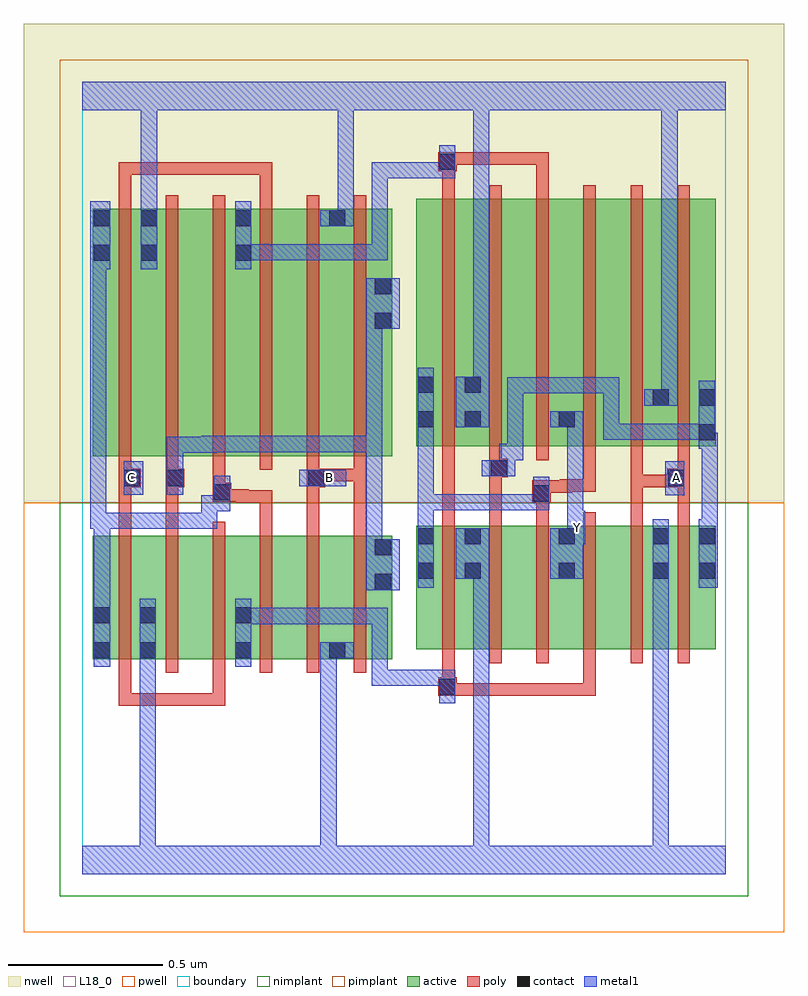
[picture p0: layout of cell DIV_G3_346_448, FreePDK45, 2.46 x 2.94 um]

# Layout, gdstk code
import gdstk
lib = gdstk.Library(unit=1e-6, precision=1e-09)
def R(c, l, rs):  # rectangles x0, y0, x1, y1
    for r in rs: c.add(gdstk.rectangle(r[:2], r[2:], *l))
def A(c, l, x, y, w, h, nx, ny, dx, dy):  # array of equal rectangles
    R(c, l, [(x+i*dx, y+j*dy, x+i*dx+w, y+j*dy+h) for i in range(nx) for j in range(ny)])
active = (1, 0)
pwell = (2, 0)
nwell = (3, 0)
nimplant = (4, 0)
pimplant = (5, 0)
poly = (9, 0)
contact = (10, 0)
metal1 = (11, 0)
L18_0 = (18, 0)
boundary = (235, 0)

div_g3_346_448 = lib.new_cell('DIV_G3_346_448')
A(div_g3_346_448, active, 0.186, 1.35, 0.06, 0.8, 3, 1, 0.304, 0)
A(div_g3_346_448, active, 1.232, 1.382, 0.06, 0.662, 3, 1, 0.304, 0)
R(div_g3_346_448, active, [(0.034,0.694,0.094,1.094), (0.034,0.694,0.242,1.094), (0.182,0.694,0.366,1.094), (0.182,0.694,0.242,0.888), (0.366,0.694,0.55,1.094), (0.49,0.694,0.55,1.094), (0.49,0.694,0.67,1.094), (0.67,0.694,0.854,1.094), (0.794,0.694,1.002,1.094), (0.794,0.694,0.854,0.782), (0.942,0.714,1.002,1.094), (1.08,0.726,1.14,1.126), (1.08,0.726,1.292,1.126), (1.232,0.726,1.412,1.126), (1.412,0.726,1.596,1.126), (1.536,0.726,1.596,1.126), (1.536,0.726,1.716,1.126), (1.716,0.726,1.9,1.126), (1.84,0.726,1.9,1.126), (1.84,0.726,2.048,1.126), (1.988,0.726,2.048,1.126), (1.232,0.756,1.292,1.122), (0.034,1.35,0.246,2.15), (0.034,1.35,0.094,2.15), (0.186,1.35,0.366,2.15), (0.366,1.35,0.55,2.15), (0.49,1.35,0.67,2.15), (0.67,1.35,0.854,2.15), (0.794,1.35,1.002,2.15), (0.942,1.35,1.002,2.044), (1.08,1.382,1.292,2.182), (1.08,1.382,1.14,2.182), (1.232,1.382,1.412,2.182), (1.412,1.382,1.596,2.182), (1.536,1.382,1.716,2.182), (1.716,1.382,1.9,2.182), (1.84,1.382,2.048,2.182), (1.988,1.382,2.048,2.044)])
R(div_g3_346_448, pwell, [(-0.188,-0.188,2.268,1.2)])
R(div_g3_346_448, nwell, [(-0.188,1.2,2.268,2.748)])
R(div_g3_346_448, nimplant, [(-0.072,-0.072,2.152,1.2)])
R(div_g3_346_448, pimplant, [(-0.072,1.2,2.152,2.632)])
A(div_g3_346_448, poly, 0.118, 0.65, 0.04, 0.488, 6, 1, 0.152, 0)
A(div_g3_346_448, poly, 1.164, 0.682, 0.04, 0.488, 6, 1, 0.152, 0)
A(div_g3_346_448, poly, 0.118, 1.306, 0.04, 0.888, 6, 1, 0.152, 0)
A(div_g3_346_448, poly, 1.164, 1.338, 0.04, 0.888, 6, 1, 0.152, 0)
R(div_g3_346_448, poly, [(0.118,0.544,0.158,0.584), (0.118,0.544,0.158,0.584), (0.118,0.544,0.158,0.584), (0.118,0.544,0.158,0.69), (0.118,0.544,0.296,0.584), (0.256,0.544,0.296,0.584), (0.256,0.544,0.296,0.584), (0.256,0.544,0.296,0.584), (0.256,0.544,0.462,0.584), (0.422,0.544,0.462,0.584), (0.422,0.544,0.462,0.69), (1.15,0.576,1.21,0.636), (1.17,0.576,1.21,0.616), (1.17,0.576,1.21,0.616), (1.17,0.576,1.376,0.616), (1.336,0.576,1.376,0.616), (1.336,0.576,1.376,0.616), (1.336,0.576,1.376,0.616), (1.336,0.576,1.482,0.616), (1.442,0.576,1.482,0.616), (1.442,0.576,1.482,0.616), (1.442,0.576,1.482,0.616), (1.442,0.576,1.66,0.616), (1.62,0.576,1.66,0.616), (1.62,0.576,1.66,0.722), (1.164,0.596,1.204,0.722), (0.118,1.098,0.158,1.29), (0.27,1.098,0.31,1.29), (0.574,1.098,0.614,1.24), (0.726,1.098,0.766,1.29), (0.878,1.098,0.918,1.31), (1.164,1.13,1.204,1.342), (1.316,1.13,1.356,1.322), (1.468,1.13,1.508,1.24), (1.772,1.13,1.812,1.29), (1.924,1.13,1.964,1.29), (0.498,1.2,0.614,1.24), (0.498,1.2,0.538,1.244), (0.574,1.2,0.614,1.24), (1.454,1.2,1.514,1.272), (0.422,1.204,0.482,1.264), (0.442,1.204,0.538,1.244), (0.422,1.224,0.462,1.264), (0.422,1.224,0.462,1.264), (0.422,1.224,0.462,1.346), (1.474,1.232,1.584,1.272), (1.544,1.232,1.584,1.276), (1.544,1.236,1.66,1.276), (1.62,1.236,1.66,1.276), (1.62,1.236,1.66,1.276), (1.62,1.236,1.66,1.276), (1.62,1.236,1.66,1.378), (0.118,1.25,0.158,1.29), (0.118,1.25,0.158,1.29), (0.118,1.25,0.19,1.31), (0.27,1.25,0.31,1.29), (0.27,1.25,0.31,1.29), (0.27,1.25,0.33,1.31), (0.726,1.25,0.786,1.31), (1.772,1.25,1.812,1.29), (1.772,1.25,1.812,1.29), (1.772,1.25,1.812,1.29), (1.772,1.25,1.93,1.29), (1.772,1.25,1.812,1.378), (1.89,1.25,1.93,1.29), (1.89,1.25,1.93,1.29), (1.89,1.25,1.964,1.31), (0.118,1.27,0.158,1.346), (0.27,1.27,0.31,1.346), (0.726,1.27,0.766,1.31), (0.726,1.27,0.766,1.31), (0.726,1.27,0.766,1.346), (0.726,1.27,0.918,1.31), (0.878,1.27,0.918,1.31), (0.878,1.27,0.918,1.31), (0.878,1.27,0.918,1.31), (0.878,1.27,0.918,1.31), (0.878,1.27,0.918,1.31), (0.878,1.27,0.918,1.346), (1.924,1.27,1.964,1.378), (1.924,1.27,1.964,1.31), (1.924,1.27,1.964,1.31), (1.316,1.282,1.356,1.322), (1.316,1.282,1.356,1.322), (1.316,1.282,1.376,1.342), (1.164,1.302,1.204,1.342), (1.164,1.302,1.204,1.342), (1.164,1.302,1.204,1.342), (1.164,1.302,1.204,1.378), (1.316,1.302,1.356,1.378), (0.118,2.154,0.158,2.3), (0.574,2.154,0.614,2.3), (1.164,2.186,1.204,2.312), (1.468,2.186,1.508,2.332), (0.118,2.26,0.158,2.3), (0.118,2.26,0.158,2.3), (0.118,2.26,0.158,2.3), (0.118,2.26,0.356,2.3), (0.316,2.26,0.356,2.3), (0.316,2.26,0.356,2.3), (0.316,2.26,0.356,2.3), (0.316,2.26,0.508,2.3), (0.468,2.26,0.508,2.3), (0.468,2.26,0.614,2.3), (0.574,2.26,0.614,2.3), (0.574,2.26,0.614,2.3), (0.574,2.26,0.614,2.3), (1.15,2.272,1.21,2.332), (1.17,2.292,1.21,2.332), (1.17,2.292,1.21,2.332), (1.17,2.292,1.376,2.332), (1.336,2.292,1.376,2.332), (1.336,2.292,1.376,2.332), (1.336,2.292,1.376,2.332), (1.336,2.292,1.508,2.332), (1.468,2.292,1.508,2.332)])
A(div_g3_346_448, contact, 1.236, 0.954, 0.052, 0.052, 3, 2, 0.304, 0.112)
A(div_g3_346_448, contact, 0.19, 2.094, 0.052, 0.052, 3, 1, 0.304, 0)
R(div_g3_346_448, contact, [(1.154,0.58,1.206,0.632), (0.038,0.698,0.09,0.75), (0.186,0.698,0.238,0.75), (0.494,0.698,0.546,0.75), (0.798,0.698,0.85,0.75), (0.038,0.81,0.09,0.862), (0.186,0.81,0.238,0.862), (0.494,0.81,0.546,0.862), (0.946,0.918,0.998,0.97), (1.084,0.954,1.136,1.006), (1.992,0.954,2.044,1.006), (0.946,1.03,0.998,1.082), (1.084,1.066,1.136,1.118), (1.992,1.066,2.044,1.118), (1.458,1.204,1.51,1.256), (0.426,1.208,0.478,1.26), (0.134,1.254,0.186,1.306), (0.274,1.254,0.326,1.306), (0.73,1.254,0.782,1.306), (1.894,1.254,1.946,1.306), (1.32,1.286,1.372,1.338), (1.992,1.402,2.044,1.454), (1.084,1.444,1.136,1.496), (1.236,1.444,1.288,1.496), (1.54,1.444,1.592,1.496), (1.844,1.514,1.896,1.566), (1.992,1.514,2.044,1.566), (1.084,1.556,1.136,1.608), (1.236,1.556,1.288,1.608), (0.946,1.762,0.998,1.814), (0.946,1.874,0.998,1.926), (0.038,1.982,0.09,2.034), (0.19,1.982,0.242,2.034), (0.494,1.982,0.546,2.034), (0.038,2.094,0.09,2.146), (1.154,2.276,1.206,2.328)])
R(div_g3_346_448, metal1, [(0,0,2.08,0.092), (0.186,0.04,0.238,0.092), (0.186,0.04,0.238,0.092), (0.186,0.04,0.238,0.092), (0.186,0.04,0.238,0.092), (0.186,0.04,0.238,0.092), (0.186,0.04,0.238,0.092), (0.186,0.04,0.238,0.092), (0.186,0.04,0.238,0.092), (0.186,0.04,0.238,0.722), (0.77,0.04,0.822,0.092), (0.77,0.04,0.822,0.092), (0.77,0.04,0.822,0.092), (0.77,0.04,0.822,0.092), (0.77,0.04,0.822,0.092), (0.77,0.04,0.822,0.092), (0.77,0.04,0.822,0.092), (0.77,0.04,0.822,0.092), (0.77,0.04,0.822,0.092), (0.77,0.04,0.822,0.092), (0.77,0.04,0.822,0.75), (1.264,0.04,1.316,0.092), (1.264,0.04,1.316,0.092), (1.264,0.04,1.316,0.092), (1.264,0.04,1.316,0.092), (1.264,0.04,1.316,0.092), (1.264,0.04,1.316,0.092), (1.264,0.04,1.316,0.092), (1.264,0.04,1.316,0.092), (1.264,0.04,1.316,0.092), (1.264,0.04,1.316,0.092), (1.264,0.04,1.316,0.092), (1.264,0.04,1.316,0.092), (1.264,0.04,1.316,1.006), (1.844,0.04,1.896,0.092), (1.844,0.04,1.896,0.092), (1.844,0.04,1.896,0.092), (1.844,0.04,1.896,0.092), (1.844,0.04,1.896,0.092), (1.844,0.04,1.896,0.092), (1.844,0.04,1.896,0.092), (1.844,0.04,1.896,0.092), (1.844,0.04,1.896,0.092), (1.844,0.04,1.896,0.092), (1.844,0.04,1.896,0.978), (1.154,0.552,1.206,0.66), (0.936,0.608,0.988,0.66), (0.936,0.608,1.206,0.66), (0.936,0.608,0.988,0.86), (0.038,0.67,0.09,0.89), (0.186,0.67,0.238,0.722), (0.186,0.67,0.238,0.722), (0.186,0.67,0.238,0.722), (0.186,0.67,0.238,0.722), (0.186,0.67,0.238,0.89), (0.494,0.67,0.546,0.89), (0.77,0.698,0.822,0.75), (0.77,0.698,0.822,0.75), (0.77,0.698,0.878,0.75), (0.494,0.808,0.546,0.86), (0.494,0.808,0.546,0.86), (0.494,0.808,0.656,0.86), (0.604,0.808,0.656,0.86), (0.604,0.808,0.656,0.86), (0.604,0.808,0.656,0.86), (0.604,0.808,0.86,0.86), (0.808,0.808,0.86,0.86), (0.808,0.808,0.86,0.86), (0.808,0.808,0.86,0.86), (0.808,0.808,0.86,0.86), (0.808,0.808,0.86,0.86), (0.808,0.808,0.86,0.86), (0.808,0.808,0.86,0.86), (0.808,0.808,0.988,0.86), (0.936,0.808,0.988,0.86), (0.936,0.808,0.988,0.86), (0.936,0.808,0.988,0.86), (0.936,0.808,0.988,0.86), (0.936,0.808,0.988,0.86), (0.038,0.838,0.09,1.168), (0.918,0.918,1.026,1.082), (1.084,0.926,1.136,1.146), (1.844,0.926,1.896,0.978), (1.844,0.926,1.896,0.978), (1.844,0.926,1.896,1.146), (1.992,0.926,2.054,1.146), (1.208,0.954,1.316,1.118), (1.512,0.954,1.62,1.118), (0.918,1.03,0.97,1.416), (1.568,1.066,1.62,1.118), (1.568,1.066,1.626,1.174), (1.084,1.094,1.136,1.228), (2.002,1.094,2.054,1.146), (2.002,1.094,2.054,1.146), (2.002,1.094,2.054,1.426), (0.026,1.116,0.078,2.006), (0.026,1.116,0.09,1.168), (0.038,1.116,0.09,1.168), (0.038,1.116,0.09,1.168), (0.038,1.116,0.216,1.168), (0.164,1.116,0.216,1.168), (0.164,1.116,0.216,1.168), (0.164,1.116,0.216,1.168), (0.164,1.116,0.436,1.168), (0.384,1.116,0.436,1.224), (1.568,1.122,1.62,1.174), (1.568,1.122,1.62,1.174), (1.568,1.122,1.62,1.496), (0.384,1.172,0.478,1.224), (0.426,1.172,0.478,1.288), (1.084,1.176,1.136,1.228), (1.084,1.176,1.136,1.228), (1.084,1.176,1.136,1.228), (1.084,1.176,1.136,1.228), (1.084,1.176,1.136,1.228), (1.084,1.176,1.29,1.228), (1.084,1.176,1.136,1.468), (1.238,1.176,1.29,1.228), (1.238,1.176,1.4,1.228), (1.348,1.176,1.4,1.228), (1.348,1.176,1.4,1.228), (1.348,1.176,1.4,1.228), (1.348,1.176,1.51,1.228), (1.458,1.176,1.51,1.284), (1.884,1.224,1.946,1.334), (0.134,1.226,0.198,1.334), (0.274,1.226,0.326,1.334), (0.702,1.254,0.854,1.306), (0.274,1.282,0.326,1.334), (0.274,1.282,0.326,1.414), (1.292,1.286,1.4,1.338), (1.348,1.286,1.4,1.338), (1.348,1.286,1.4,1.338), (1.348,1.286,1.4,1.39), (1.348,1.338,1.426,1.39), (1.374,1.338,1.426,1.606), (0.274,1.362,0.436,1.414), (0.384,1.362,0.436,1.416), (0.384,1.364,0.546,1.416), (0.494,1.364,0.546,1.416), (0.494,1.364,0.546,1.416), (0.494,1.364,0.546,1.416), (0.494,1.364,0.712,1.416), (0.66,1.364,0.712,1.416), (0.66,1.364,0.712,1.416), (0.66,1.364,0.712,1.416), (0.66,1.364,0.86,1.416), (0.808,1.364,0.86,1.416), (0.808,1.364,0.86,1.416), (0.808,1.364,0.86,1.416), (0.808,1.364,0.97,1.416), (0.918,1.364,0.97,1.416), (0.918,1.364,0.97,1.416), (0.918,1.364,0.97,1.416), (0.918,1.364,0.97,1.814), (1.992,1.374,2.044,1.426), (1.992,1.374,2.044,1.594), (1.992,1.374,2.054,1.426), (1.684,1.404,1.736,1.456), (1.684,1.404,1.736,1.456), (1.684,1.404,1.736,1.456), (1.684,1.404,1.934,1.456), (1.684,1.404,1.736,1.606), (1.882,1.404,1.934,1.456), (1.882,1.404,2.044,1.456), (1.992,1.404,2.044,1.456), (1.992,1.404,2.044,1.456), (1.084,1.416,1.136,1.636), (1.208,1.444,1.316,1.608), (1.512,1.444,1.62,1.496), (1.816,1.514,1.924,1.566), (1.872,1.514,1.924,1.566), (1.872,1.514,1.924,1.566), (1.872,1.514,1.924,1.566), (1.872,1.514,1.924,1.566), (1.872,1.514,1.924,2.52), (1.374,1.554,1.426,1.606), (1.374,1.554,1.51,1.606), (1.458,1.554,1.51,1.606), (1.458,1.554,1.62,1.606), (1.568,1.554,1.62,1.606), (1.568,1.554,1.62,1.606), (1.568,1.554,1.62,1.606), (1.568,1.554,1.736,1.606), (1.684,1.554,1.736,1.606), (1.264,1.556,1.316,1.608), (1.264,1.556,1.316,1.608), (1.264,1.556,1.316,1.608), (1.264,1.556,1.316,1.608), (1.264,1.556,1.316,1.608), (1.264,1.556,1.316,1.608), (1.264,1.556,1.316,2.52), (0.918,1.762,1.026,1.926), (0.026,1.954,0.078,2.006), (0.026,1.954,0.078,2.006), (0.026,1.954,0.09,2.174), (0.19,1.954,0.242,2.174), (0.494,1.954,0.546,2.174), (0.494,1.984,0.546,2.036), (0.494,1.984,0.546,2.036), (0.494,1.984,0.656,2.036), (0.604,1.984,0.656,2.036), (0.604,1.984,0.656,2.036), (0.604,1.984,0.656,2.036), (0.604,1.984,0.86,2.036), (0.808,1.984,0.86,2.036), (0.808,1.984,0.86,2.036), (0.808,1.984,0.86,2.036), (0.808,1.984,0.988,2.036), (0.936,1.984,0.988,2.036), (0.936,1.984,0.988,2.036), (0.936,1.984,0.988,2.036), (0.936,1.984,0.988,2.036), (0.936,1.984,0.988,2.036), (0.936,1.984,0.988,2.3), (0.77,2.094,0.878,2.146), (0.826,2.094,0.878,2.146), (0.826,2.094,0.878,2.146), (0.826,2.094,0.878,2.146), (0.826,2.094,0.878,2.146), (0.826,2.094,0.878,2.52), (0.19,2.122,0.242,2.174), (0.19,2.122,0.242,2.174), (0.19,2.122,0.242,2.174), (0.19,2.122,0.242,2.174), (0.19,2.122,0.242,2.174), (0.19,2.122,0.242,2.174), (0.19,2.122,0.242,2.52), (0.936,2.248,0.988,2.3), (0.936,2.248,1.206,2.3), (1.154,2.248,1.206,2.356), (0,2.468,2.08,2.56), (0.19,2.468,0.242,2.52), (0.19,2.468,0.242,2.52), (0.826,2.468,0.878,2.52), (0.826,2.468,0.878,2.52), (0.826,2.468,0.878,2.52), (0.826,2.468,0.878,2.52), (1.264,2.468,1.316,2.52), (1.264,2.468,1.316,2.52), (1.872,2.468,1.924,2.52), (1.872,2.468,1.924,2.52), (1.872,2.468,1.924,2.52), (1.872,2.468,1.924,2.52)])
R(div_g3_346_448, L18_0, [(0,0,2.08,0.092), (0.186,0.04,0.238,0.092), (0.186,0.04,0.238,0.092), (0.186,0.04,0.238,0.092), (0.186,0.04,0.238,0.092), (0.186,0.04,0.238,0.092), (0.186,0.04,0.238,0.092), (0.186,0.04,0.238,0.092), (0.186,0.04,0.238,0.092), (0.186,0.04,0.238,0.722), (0.77,0.04,0.822,0.092), (0.77,0.04,0.822,0.092), (0.77,0.04,0.822,0.092), (0.77,0.04,0.822,0.092), (0.77,0.04,0.822,0.092), (0.77,0.04,0.822,0.092), (0.77,0.04,0.822,0.092), (0.77,0.04,0.822,0.092), (0.77,0.04,0.822,0.092), (0.77,0.04,0.822,0.092), (0.77,0.04,0.822,0.75), (1.264,0.04,1.316,0.092), (1.264,0.04,1.316,0.092), (1.264,0.04,1.316,0.092), (1.264,0.04,1.316,0.092), (1.264,0.04,1.316,0.092), (1.264,0.04,1.316,0.092), (1.264,0.04,1.316,0.092), (1.264,0.04,1.316,0.092), (1.264,0.04,1.316,0.092), (1.264,0.04,1.316,0.092), (1.264,0.04,1.316,0.092), (1.264,0.04,1.316,0.092), (1.264,0.04,1.316,1.006), (1.844,0.04,1.896,0.092), (1.844,0.04,1.896,0.092), (1.844,0.04,1.896,0.092), (1.844,0.04,1.896,0.092), (1.844,0.04,1.896,0.092), (1.844,0.04,1.896,0.092), (1.844,0.04,1.896,0.092), (1.844,0.04,1.896,0.092), (1.844,0.04,1.896,0.092), (1.844,0.04,1.896,0.092), (1.844,0.04,1.896,0.978), (0.186,0.67,0.238,0.722), (0.186,0.67,0.238,0.722), (0.186,0.67,0.238,0.722), (0.186,0.67,0.238,0.722), (0.186,0.67,0.238,0.89), (0.77,0.698,0.822,0.75), (0.77,0.698,0.822,0.75), (0.77,0.698,0.878,0.75), (1.844,0.926,1.896,0.978), (1.844,0.926,1.896,0.978), (1.844,0.926,1.896,1.146), (1.208,0.954,1.316,1.118), (1.512,0.954,1.62,1.118), (1.568,1.066,1.62,1.118), (1.568,1.066,1.626,1.174), (1.574,1.094,1.626,1.146), (1.568,1.122,1.62,1.174), (1.568,1.122,1.62,1.174), (1.568,1.122,1.62,1.496), (1.884,1.224,1.946,1.334), (0.134,1.226,0.198,1.334), (0.134,1.254,0.186,1.306), (0.702,1.254,0.854,1.306), (0.774,1.254,0.826,1.306), (1.894,1.254,1.946,1.306), (1.208,1.444,1.316,1.608), (1.512,1.444,1.62,1.496), (1.816,1.514,1.924,1.566), (1.872,1.514,1.924,1.566), (1.872,1.514,1.924,1.566), (1.872,1.514,1.924,1.566), (1.872,1.514,1.924,1.566), (1.872,1.514,1.924,2.52), (1.264,1.556,1.316,1.608), (1.264,1.556,1.316,1.608), (1.264,1.556,1.316,1.608), (1.264,1.556,1.316,1.608), (1.264,1.556,1.316,1.608), (1.264,1.556,1.316,1.608), (1.264,1.556,1.316,2.52), (0.19,1.954,0.242,2.174), (0.77,2.094,0.878,2.146), (0.826,2.094,0.878,2.146), (0.826,2.094,0.878,2.146), (0.826,2.094,0.878,2.146), (0.826,2.094,0.878,2.146), (0.826,2.094,0.878,2.52), (0.19,2.122,0.242,2.174), (0.19,2.122,0.242,2.174), (0.19,2.122,0.242,2.174), (0.19,2.122,0.242,2.174), (0.19,2.122,0.242,2.174), (0.19,2.122,0.242,2.174), (0.19,2.122,0.242,2.52), (0,2.468,2.08,2.56), (0.19,2.468,0.242,2.52), (0.19,2.468,0.242,2.52), (0.826,2.468,0.878,2.52), (0.826,2.468,0.878,2.52), (0.826,2.468,0.878,2.52), (0.826,2.468,0.878,2.52), (1.264,2.468,1.316,2.52), (1.264,2.468,1.316,2.52), (1.872,2.468,1.924,2.52), (1.872,2.468,1.924,2.52), (1.872,2.468,1.924,2.52), (1.872,2.468,1.924,2.52)])
R(div_g3_346_448, boundary, [(0,0,2.08,2.56)])
div_g3_346_448.add(gdstk.Label('A', (1.92,1.28), layer=11, texttype=0))
div_g3_346_448.add(gdstk.Label('B', (0.8,1.28), layer=11, texttype=0))
div_g3_346_448.add(gdstk.Label('C', (0.16,1.28), layer=11, texttype=0))
div_g3_346_448.add(gdstk.Label('Y', (1.6,1.12), layer=11, texttype=0))

lib.write_gds('DIV_G3_346_448.gds')
